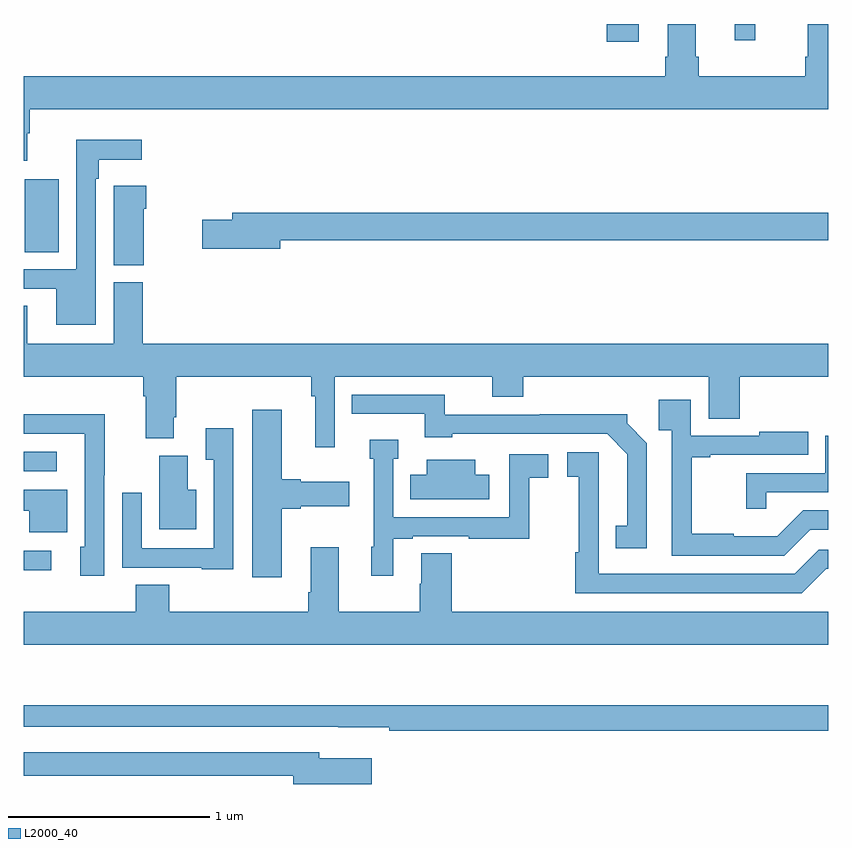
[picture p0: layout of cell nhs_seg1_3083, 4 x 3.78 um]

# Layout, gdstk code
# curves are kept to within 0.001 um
import gdstk
lib = gdstk.Library(unit=1e-6, precision=1e-09)
def R(c, l, rs):  # rectangles x0, y0, x1, y1
    for r in rs: c.add(gdstk.rectangle(r[:2], r[2:], *l))
def P(c, l, *ps):  # polygons
    for p in ps: c.add(gdstk.Polygon(p, *l))
L2000_40 = (2000, 40)

nhs_seg1_3083 = lib.new_cell('nhs_seg1_3083')
R(nhs_seg1_3083, L2000_40, [(279,505.481,279.136,505.578), (279,505.974,279.163,506.07), (279.005,507.064,279.172,507.427), (281.9,508.11,282.058,508.199), (282.536,508.119,282.638,508.199)])
P(nhs_seg1_3083, L2000_40, [(279.016,507.656),(279.029,507.656),(279.029,507.776),(283,507.776),(283,508.199),(282.899,508.199),(282.899,508.036),(282.887,508.036),(282.887,507.94),(282.356,507.94),(282.356,508.036),(282.343,508.036),(282.343,508.199),(282.203,508.199),(282.203,508.036),(282.191,508.036),(282.191,507.94),(279,507.94),(279,507.519),(279.016,507.519)],
  [(279.357,507.428),(279.373,507.428),(279.373,507.524),(279.586,507.524),(279.586,507.622),(279.261,507.622),(279.261,506.979),(279,506.979),(279,506.883),(279.161,506.883),(279.161,506.702),(279.357,506.702)],
  [(279.595,507.281),(279.608,507.281),(279.608,507.394),(279.447,507.394),(279.447,507.281),(279.446,507.281),(279.446,506.998),(279.595,506.998)],
  [(280.276,507.124),(283,507.124),(283,507.26),(280.037,507.26),(280.037,507.224),(279.888,507.224),(279.888,507.082),(280.276,507.082)],
  [(280.545,506.444),(281.33,506.444),(281.33,506.345),(281.483,506.345),(281.483,506.444),(282.407,506.444),(282.407,506.236),(282.56,506.236),(282.56,506.444),(283,506.444),(283,506.608),(279.59,506.608),(279.59,506.913),(279.446,506.913),(279.446,506.608),(279.016,506.608),(279.016,506.798),(279,506.798),(279,506.444),(279.593,506.444),(279.593,506.348),(279.605,506.348),(279.605,506.137),(279.745,506.137),(279.745,506.242),(279.758,506.242),(279.758,506.444),(280.429,506.444),(280.429,506.348),(280.448,506.348),(280.448,506.094),(280.545,506.094)],
  [(282.099,506.114),(282,506.213),(282,506.258),(281.566,506.258),(281.566,506.256),(281.094,506.256),(281.094,506.355),(280.63,506.355),(280.63,506.259),(280.994,506.259),(280.994,506.144),(281.13,506.144),(281.13,506.16),(281.901,506.16),(282.002,506.059),(282.002,505.703),(281.944,505.703),(281.944,505.59),(282.099,505.59)],
  [(282.912,505.683),(283,505.683),(283,505.779),(282.876,505.779),(282.748,505.651),(282.53,505.651),(282.53,505.663),(282.323,505.663),(282.323,506.043),(282.415,506.043),(282.415,506.055),(282.902,506.055),(282.902,506.17),(282.659,506.17),(282.659,506.151),(282.318,506.151),(282.318,506.329),(282.157,506.329),(282.157,506.177),(282.222,506.177),(282.222,505.554),(282.783,505.554)],
  [(280.282,505.787),(280.378,505.787),(280.378,505.799),(280.618,505.799),(280.618,505.921),(280.378,505.921),(280.378,505.934),(280.282,505.934),(280.282,506.281),(280.136,506.281),(280.136,505.446),(280.282,505.446)],
  [(279.399,505.954),(279.401,505.954),(279.401,506.258),(279,506.258),(279,506.16),(279.303,506.16),(279.303,505.599),(279.281,505.599),(279.281,505.455),(279.399,505.455)],
  [(280.041,506.188),(279.905,506.188),(279.905,506.032),(279.945,506.032),(279.945,505.59),(279.585,505.59),(279.585,505.867),(279.489,505.867),(279.489,505.494),(279.885,505.494),(279.885,505.487),(280.041,505.487)],
  [(282.693,505.869),(283,505.869),(283,506.151),(282.987,506.151),(282.987,505.965),(282.592,505.965),(282.592,505.788),(282.693,505.788)],
  [(280.837,505.638),(280.933,505.638),(280.933,505.65),(281.212,505.65),(281.212,505.638),(281.514,505.638),(281.514,505.942),(281.608,505.942),(281.608,506.058),(281.415,506.058),(281.415,505.746),(280.836,505.746),(280.836,506.037),(280.861,506.037),(280.861,506.131),(280.721,506.131),(280.721,506.037),(280.74,506.037),(280.74,505.599),(280.727,505.599),(280.727,505.455),(280.837,505.455)],
  [(282.99,505.488),(283,505.488),(283,505.584),(282.954,505.584),(282.834,505.464),(281.859,505.464),(281.86,506.068),(281.703,506.068),(281.703,505.947),(281.761,505.947),(281.761,505.571),(281.743,505.571),(281.743,505.368),(282.87,505.368)],
  [(279.856,505.882),(279.814,505.882),(279.814,506.052),(279.674,506.052),(279.674,505.685),(279.856,505.685)],
  [(281.314,505.957),(281.245,505.957),(281.245,506.032),(281.003,506.032),(281.003,505.957),(280.921,505.957),(280.921,505.835),(281.314,505.835)],
  [(279.214,505.882),(279,505.882),(279,505.778),(279.027,505.778),(279.027,505.671),(279.214,505.671)],
  [(283,505.276),(281.129,505.276),(281.129,505.565),(280.976,505.565),(280.976,505.415),(280.969,505.415),(280.969,505.276),(280.567,505.276),(280.567,505.597),(280.427,505.597),(280.427,505.372),(280.415,505.372),(280.415,505.276),(279.722,505.276),(279.722,505.409),(279.557,505.409),(279.557,505.276),(279,505.276),(279,505.112),(283,505.112)],
  [(283,504.811),(279,504.811),(279,504.702),(280.564,504.702),(280.564,504.701),(280.816,504.701),(280.816,504.682),(283,504.682)],
  [(280.729,504.547),(280.468,504.547),(280.468,504.576),(279,504.576),(279,504.46),(280.34,504.46),(280.34,504.418),(280.729,504.418)])

lib.write_gds('nhs_seg1_3083.gds')
